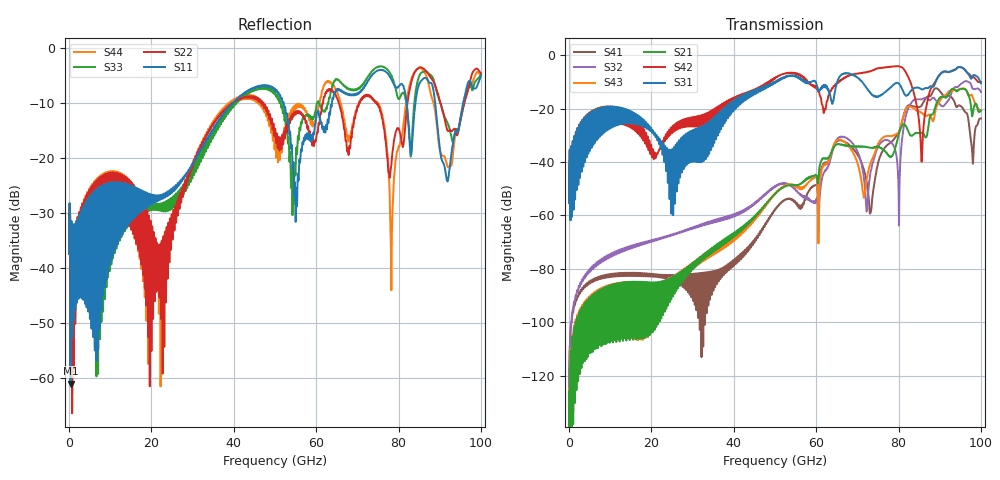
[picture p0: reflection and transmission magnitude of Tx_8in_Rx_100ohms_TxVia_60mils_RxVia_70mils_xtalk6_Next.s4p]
! Info: Touchstone file created by Circ.  Input file=Tx_8in_Rx_100ohms_TxVia_60mils_RxVia_70mils.circ
# Hz S RI R 50
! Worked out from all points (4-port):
!   10000 points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, 10 MHz to 100 GHz, reference 50 ohm
!   strongest paths, dB at 10 MHz, 25.01 GHz, 50.01 GHz, 75.01 GHz, 100 GHz:
!     S31: -55.3, -35.6, -10.5, -15.4, -10.5
!     S42: -55.3, -28.4, -8.7, -4.8, -10.0
!     S21: -139.4, -83.2, -51.9, -34.2, -20.7
!     S43: -137.4, -83.0, -51.8, -33.3, -20.8
!     S32: -130.4, -67.3, -48.9, -34.4, -13.7
!     S41: -130.4, -82.5, -57.8, -40.4, -23.7
!   lowest |S11| = -61.1 dB at 380 MHz (marker M1), VSWR 1.00, Z = 49.9 + j0.0676 ohm
!   |S11| at or under -10 dB: start of sweep to 39.63 GHz; 52.12 GHz to 63.83 GHz (11.7 GHz wide, 20.2 % of centre); 88.91 GHz to 95.7 GHz (6.794 GHz wide, 7.36 % of centre)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
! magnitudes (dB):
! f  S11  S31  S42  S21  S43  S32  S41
! 10 MHz  -37.4  -55.3  -55.3  -139.4  -137.4  -130.4  -130.4
! 380 MHz  -61.1  -44.2  -44.1  -111.3  -110.5  -101.9  -102.8
! 38.39 GHz  -11.0  -19.5  -17.5  -68.7  -69.3  -61.0  -81.0
! 65.94 GHz  -7.7  -7.5  -9.2  -33.3  -31.6  -30.5  -31.8
! 72.3 GHz  -6.3  -12.4  -6.3  -34.4  -46.6  -58.3  -47.8
! 85.59 GHz  -5.9  -12.7  -39.9  -29.1  -21.6  -16.6  -18.8
! 100 GHz  -5.0  -10.5  -10.0  -20.7  -20.8  -13.7  -23.7
